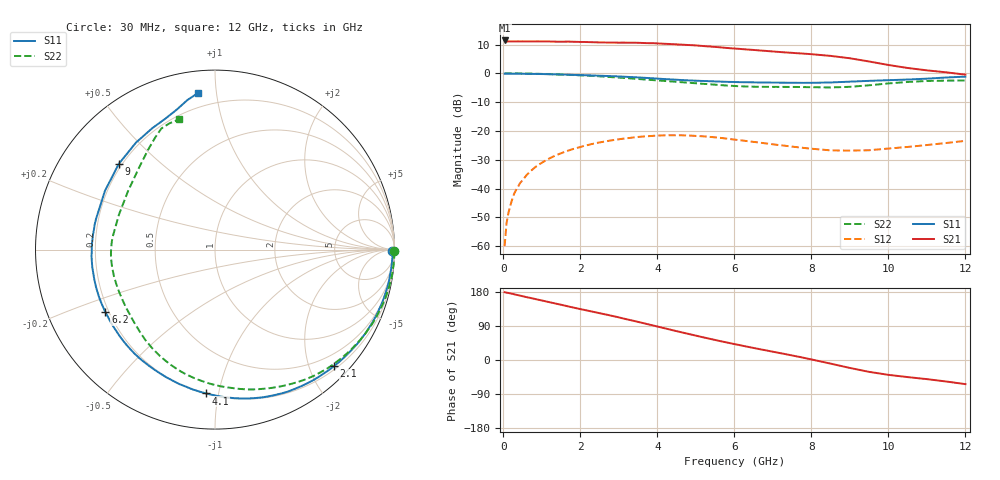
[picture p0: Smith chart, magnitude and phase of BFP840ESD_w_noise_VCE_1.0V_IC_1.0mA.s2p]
! Infineon Technologies  Discrete & RF Semiconductors
! BFP840ESD
! VCE =  1.0 V,  IC =  1.0 mA
! Common Emitter S-Parameters:  May 2012
# GHz  S  MA  R  50
!  f  S11  S21  S12  S22
! GHz  MAG  ANG  MAG  ANG  MAG  ANG  MAG  ANG
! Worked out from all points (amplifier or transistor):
!   93 points, 30 MHz to 12 GHz, reference 50 ohm
!   highest |S21| = 11.4 dB at 30 MHz (marker M1)
!   |S21| within 3 dB of that: start of sweep to 6.197 GHz
!   unconditionally stable (mu >= 1): 7.141 GHz to 11.36 GHz
!   at 1.1 GHz: K = 0.09, MSG = 20.6 dB, |S12| = -30.2 dB
!   at 4.2 GHz: K = 0.31, MSG = 15.9 dB, |S12| = -21.5 dB
!   at 12 GHz: K = 0.76, MSG = 11.5 dB, |S12| = -23.4 dB
!   lowest NFmin = 0.39 dB at 450 MHz
!   S11 on the Smith chart (normalised r, x): 30 MHz: open; 2.1 GHz: 0.26, -2.43; 4.1 GHz: 0.20, -0.92; 6.2 GHz: 0.19, -0.26; 9 GHz: 0.19, +0.37; 12 GHz: 0.12, +0.89
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0.03  0.9883 -0.6  3.725 178.9  0.001 57.6  0.9992 -0.6
0.08  0.9879 -1.6  3.548 177.8  0.0025 69.7  0.9995 -1.7
0.13  0.9895 -2.7  3.589 176.9  0.0038 84.0  0.9993 -2.7
0.28  0.9877 -5.8  3.585 173.4  0.0082 85.4  0.9977 -5.9
0.43  0.9851 -8.8  3.58 169.9  0.0124 82.0  0.9955 -9.0
1.1  0.9692 -22.8  3.585 154.7  0.0309 67.8  0.9735 -23.2
1.7  0.9456 -35.7  3.557 141.0  0.046 55.8  0.9417 -36.0
2.1  0.9283 -44.4  3.505 132.2  0.0552 48.5  0.9167 -44.7
3.3  0.864 -72.4  3.406 105.2  0.0759 25.3  0.8162 -72.2
4.1  0.8028 -93.5  3.284 85.9  0.0836 9.7  0.7457 -92.7
4.5  0.7749 -104.9  3.185 76.1  0.0842 1.9  0.713 -103.2
5.1  0.7411 -121.9  3.012 61.9  0.0814 -8.9  0.6653 -118.0
5.6  0.7205 -135.5  2.842 50.6  0.0762 -16.6  0.6287 -129.7
6.1  0.7043 -147.9  2.671 40.0  0.0695 -21.7  0.599 -141.5
6.2  0.7029 -150.3  2.636 37.9  0.0684 -22.5  0.5949 -143.9
6.7  0.6951 -162.4  2.485 27.7  0.0622 -25.6  0.5839 -156.2
7.4  0.6866 -179.4  2.292 14.0  0.0545 -27.1  0.581 -172.5
8.5  0.6951 151.9  2.009 -9.6  0.046 -21.9  0.5695 160.2
9  0.7178 138.3  1.828 -21.0  0.0456 -17.2  0.5839 146.1
9.5  0.741 126.5  1.606 -31.3  0.0463 -13.2  0.6204 133.3
10.5  0.7809 110.6  1.239 -45.1  0.0528 -8.3  0.7086 118.0
12  0.8774 96.2  0.95 -63.7  0.0674 -9.0  0.7525 105.5
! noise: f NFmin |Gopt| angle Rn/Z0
0.45  0.39  0.82  4  0.56
0.9  0.4  0.84  10  0.53
1.5  0.52  0.84  22  0.46
1.9  0.58  0.83  25  0.41
2.4  0.64  0.74  35  0.38
3.5  0.77  0.64  61  0.31
5.5  1.05  0.52  116  0.21
8  1.41  0.6  -154  0.05
10  1.71  0.68  -119  0.18
12  2.06  0.64  -89  0.43
